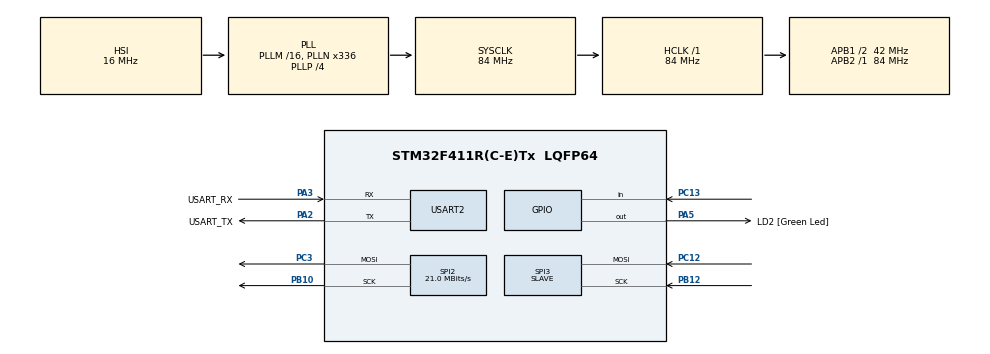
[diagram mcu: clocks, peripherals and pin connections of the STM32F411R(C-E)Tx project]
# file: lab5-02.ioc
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Mcu.Family=STM32F4
Mcu.Name=STM32F411R(C-E)Tx
Mcu.Package=LQFP64
NVIC.PriorityGroup=NVIC_PRIORITYGROUP_0
NVIC.SPI3_IRQn=true\:0\:0\:true\:false\:true\:true\:true\:true
PA13.GPIO_Label=TMS
PA13.Mode=Serial_Wire
PA13.Signal=SYS_JTMS-SWDIO
PA14.GPIO_Label=TCK
PA14.Mode=Serial_Wire
PA14.Signal=SYS_JTCK-SWCLK
PA2.GPIO_Label=USART_TX
PA2.Mode=Asynchronous
PA2.Signal=USART2_TX
PA3.GPIO_Label=USART_RX
PA3.Mode=Asynchronous
PA3.Signal=USART2_RX
PA5.GPIO_Label=LD2 [Green Led]
PA5.Signal=GPIO_Output
PB10.Mode=TX_Only_Simplex_Unidirect_Master
PB10.Signal=SPI2_SCK
PB12.Mode=RX_Only_Simplex_Unidirect_Slave
PB12.Signal=SPI3_SCK
PB3.GPIO_Label=SWO
PB3.Signal=SYS_JTDO-SWO
PC12.Mode=RX_Only_Simplex_Unidirect_Slave
PC12.Signal=SPI3_MOSI
PC13-ANTI_TAMP.Signal=GPIO_Input
PC14-OSC32_IN.Mode=LSE-External-Oscillator
PC14-OSC32_IN.Signal=RCC_OSC32_IN
PC15-OSC32_OUT.Mode=LSE-External-Oscillator
PC15-OSC32_OUT.Signal=RCC_OSC32_OUT
PC3.Mode=TX_Only_Simplex_Unidirect_Master
PC3.Signal=SPI2_MOSI
PH0\ -\ OSC_IN.Mode=HSE-External-Clock-Source
PH0\ -\ OSC_IN.Signal=RCC_OSC_IN
PH1\ -\ OSC_OUT.Mode=HSE-External-Clock-Source
PH1\ -\ OSC_OUT.Signal=RCC_OSC_OUT
ProjectManager.HeapSize=0x200
ProjectManager.StackSize=0x400
ProjectManager.TargetToolchain=STM32CubeIDE
RCC.48MHZClocksFreq_Value=84000000
RCC.AHBFreq_Value=84000000
RCC.APB1CLKDivider=RCC_HCLK_DIV2
RCC.APB1Freq_Value=42000000
RCC.APB1TimFreq_Value=84000000
RCC.APB2Freq_Value=84000000
RCC.APB2TimFreq_Value=84000000
RCC.CortexFreq_Value=84000000
RCC.FLatency-AdvancedSettings=FLASH_LATENCY_2
RCC.HCLKFreq_Value=84000000
RCC.HSE_VALUE=8000000
RCC.HSI_VALUE=16000000
RCC.PLLN=336
RCC.PLLP=RCC_PLLP_DIV4
RCC.SYSCLKFreq_VALUE=84000000
RCC.SYSCLKSource=RCC_SYSCLKSOURCE_PLLCLK
RCC.VCOOutputFreq_Value=336000000
SPI2.CalculateBaudRate=21.0 MBits/s
SPI2.Direction=SPI_DIRECTION_2LINES
SPI2.Mode=SPI_MODE_MASTER
SPI2.VirtualType=VM_MASTER
SPI3.Direction=SPI_DIRECTION_2LINES_RXONLY
SPI3.Mode=SPI_MODE_SLAVE
SPI3.VirtualType=VM_SLAVE
USART2.VirtualMode=VM_ASYNC
board=NUCLEO-F411RE

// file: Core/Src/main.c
/* USER CODE BEGIN Header */
/**
 ******************************************************************************
 * @file           : main.c
 * @brief          : Main program body
 ******************************************************************************
 * @attention
 *
 * Copyright (c) 2024 STMicroelectronics.
 * All rights reserved.
 *
 * This software is licensed under terms that can be found in the LICENSE file
 * in the root directory of this software component.
 * If no LICENSE file comes with this software, it is provided AS-IS.
 *
 ******************************************************************************
 */
/* USER CODE END Header */
#include "main.h"

/* USER CODE BEGIN Includes */
#include <stdbool.h>
/* USER CODE END Includes */

SPI_HandleTypeDef hspi2;
SPI_HandleTypeDef hspi3;

UART_HandleTypeDef huart2;

void SystemClock_Config(void);
static void MX_GPIO_Init(void);
static void MX_USART2_UART_Init(void);
static void MX_SPI2_Init(void);
static void MX_SPI3_Init(void);

/* USER CODE BEGIN 0 */
char slaveBuffer[10];

void HAL_SPI_RxCpltCallback(SPI_HandleTypeDef *hspi) {
	HAL_SPI_Receive_IT(&hspi3, slaveBuffer, 1);

	if (hspi != &hspi3) {
		return;
	}

	if (slaveBuffer[0] == 'T') {
		HAL_GPIO_TogglePin(GPIOA, GPIO_PIN_5);
	}
}
/* USER CODE END 0 */

int main(void)
{

  /* MCU Configuration--------------------------------------------------------*/

  /* Reset of all peripherals, Initializes the Flash interface and the Systick. */
  HAL_Init();

  /* Configure the system clock */
  SystemClock_Config();

  /* Initialize all configured peripherals */
  MX_GPIO_Init();
  MX_USART2_UART_Init();
  MX_SPI2_Init();
  MX_SPI3_Init();
  /* USER CODE BEGIN 2 */
  	HAL_SPI_Receive_IT(&hspi3, slaveBuffer, 1);
	bool btnOn = false;
	const char *toggleMsg = "T";
  /* USER CODE END 2 */

  /* Infinite loop */
  /* USER CODE BEGIN WHILE */
	while (1) {
		if (HAL_GPIO_ReadPin(GPIOC, GPIO_PIN_13) == GPIO_PIN_RESET) {
			HAL_Delay(10);

			if (!btnOn
					&& HAL_GPIO_ReadPin(GPIOC, GPIO_PIN_13) == GPIO_PIN_RESET) {
				btnOn = true;

				HAL_SPI_Transmit(&hspi2, toggleMsg, 1, 10);
			}
		} else {
			btnOn = false;
		}
    /* USER CODE END WHILE */

	}
}

void SystemClock_Config(void)
{
  RCC_OscInitTypeDef RCC_OscInitStruct = {0};
  RCC_ClkInitTypeDef RCC_ClkInitStruct = {0};

  /** Configure the main internal regulator output voltage
  */
  __HAL_RCC_PWR_CLK_ENABLE();
  __HAL_PWR_VOLTAGESCALING_CONFIG(PWR_REGULATOR_VOLTAGE_SCALE1);

  /** Initializes the RCC Oscillators according to the specified parameters
  * in the RCC_OscInitTypeDef structure.
  */
  RCC_OscInitStruct.OscillatorType = RCC_OSCILLATORTYPE_HSI;
  RCC_OscInitStruct.HSIState = RCC_HSI_ON;
  RCC_OscInitStruct.HSICalibrationValue = RCC_HSICALIBRATION_DEFAULT;
  RCC_OscInitStruct.PLL.PLLState = RCC_PLL_ON;
  RCC_OscInitStruct.PLL.PLLSource = RCC_PLLSOURCE_HSI;
  RCC_OscInitStruct.PLL.PLLM = 16;
  RCC_OscInitStruct.PLL.PLLN = 336;
  RCC_OscInitStruct.PLL.PLLP = RCC_PLLP_DIV4;
  RCC_OscInitStruct.PLL.PLLQ = 4;
  if (HAL_RCC_OscConfig(&RCC_OscInitStruct) != HAL_OK)
  {
    Error_Handler();
  }

  /** Initializes the CPU, AHB and APB buses clocks
  */
  RCC_ClkInitStruct.ClockType = RCC_CLOCKTYPE_HCLK|RCC_CLOCKTYPE_SYSCLK
                              |RCC_CLOCKTYPE_PCLK1|RCC_CLOCKTYPE_PCLK2;
  RCC_ClkInitStruct.SYSCLKSource = RCC_SYSCLKSOURCE_PLLCLK;
  RCC_ClkInitStruct.AHBCLKDivider = RCC_SYSCLK_DIV1;
  RCC_ClkInitStruct.APB1CLKDivider = RCC_HCLK_DIV2;
  RCC_ClkInitStruct.APB2CLKDivider = RCC_HCLK_DIV1;

  if (HAL_RCC_ClockConfig(&RCC_ClkInitStruct, FLASH_LATENCY_2) != HAL_OK)
  {
    Error_Handler();
  }
}

static void MX_SPI2_Init(void)
{

  /* SPI2 parameter configuration*/
  hspi2.Instance = SPI2;
  hspi2.Init.Mode = SPI_MODE_MASTER;
  hspi2.Init.Direction = SPI_DIRECTION_2LINES;
  hspi2.Init.DataSize = SPI_DATASIZE_8BIT;
  hspi2.Init.CLKPolarity = SPI_POLARITY_LOW;
  hspi2.Init.CLKPhase = SPI_PHASE_1EDGE;
  hspi2.Init.NSS = SPI_NSS_SOFT;
  hspi2.Init.BaudRatePrescaler = SPI_BAUDRATEPRESCALER_2;
  hspi2.Init.FirstBit = SPI_FIRSTBIT_MSB;
  hspi2.Init.TIMode = SPI_TIMODE_DISABLE;
  hspi2.Init.CRCCalculation = SPI_CRCCALCULATION_DISABLE;
  hspi2.Init.CRCPolynomial = 10;
  if (HAL_SPI_Init(&hspi2) != HAL_OK)
  {
    Error_Handler();
  }

}

static void MX_SPI3_Init(void)
{

  /* SPI3 parameter configuration*/
  hspi3.Instance = SPI3;
  hspi3.Init.Mode = SPI_MODE_SLAVE;
  hspi3.Init.Direction = SPI_DIRECTION_2LINES_RXONLY;
  hspi3.Init.DataSize = SPI_DATASIZE_8BIT;
  hspi3.Init.CLKPolarity = SPI_POLARITY_LOW;
  hspi3.Init.CLKPhase = SPI_PHASE_1EDGE;
  hspi3.Init.NSS = SPI_NSS_SOFT;
  hspi3.Init.FirstBit = SPI_FIRSTBIT_MSB;
  hspi3.Init.TIMode = SPI_TIMODE_DISABLE;
  hspi3.Init.CRCCalculation = SPI_CRCCALCULATION_DISABLE;
  hspi3.Init.CRCPolynomial = 10;
  if (HAL_SPI_Init(&hspi3) != HAL_OK)
  {
    Error_Handler();
  }

}

static void MX_USART2_UART_Init(void)
{

  huart2.Instance = USART2;
  huart2.Init.BaudRate = 115200;
  huart2.Init.WordLength = UART_WORDLENGTH_8B;
  huart2.Init.StopBits = UART_STOPBITS_1;
  huart2.Init.Parity = UART_PARITY_NONE;
  huart2.Init.Mode = UART_MODE_TX_RX;
  huart2.Init.HwFlowCtl = UART_HWCONTROL_NONE;
  huart2.Init.OverSampling = UART_OVERSAMPLING_16;
  if (HAL_UART_Init(&huart2) != HAL_OK)
  {
    Error_Handler();
  }

}

static void MX_GPIO_Init(void)
{
  GPIO_InitTypeDef GPIO_InitStruct = {0};

  /* GPIO Ports Clock Enable */
  __HAL_RCC_GPIOC_CLK_ENABLE();
  __HAL_RCC_GPIOH_CLK_ENABLE();
  __HAL_RCC_GPIOA_CLK_ENABLE();
  __HAL_RCC_GPIOB_CLK_ENABLE();

  /*Configure GPIO pin Output Level */
  HAL_GPIO_WritePin(LD2_GPIO_Port, LD2_Pin, GPIO_PIN_RESET);

  /*Configure GPIO pin : PC13 */
  GPIO_InitStruct.Pin = GPIO_PIN_13;
  GPIO_InitStruct.Mode = GPIO_MODE_INPUT;
  GPIO_InitStruct.Pull = GPIO_NOPULL;
  HAL_GPIO_Init(GPIOC, &GPIO_InitStruct);

  /*Configure GPIO pin : LD2_Pin */
  GPIO_InitStruct.Pin = LD2_Pin;
  GPIO_InitStruct.Mode = GPIO_MODE_OUTPUT_PP;
  GPIO_InitStruct.Pull = GPIO_NOPULL;
  GPIO_InitStruct.Speed = GPIO_SPEED_FREQ_LOW;
  HAL_GPIO_Init(LD2_GPIO_Port, &GPIO_InitStruct);

}

void Error_Handler(void)
{
	__disable_irq();
	while (1) {
	}
}
